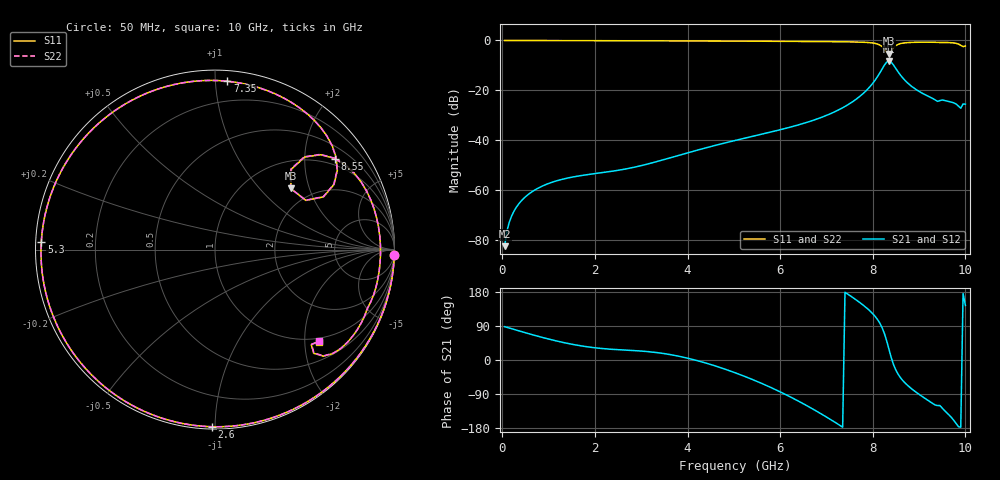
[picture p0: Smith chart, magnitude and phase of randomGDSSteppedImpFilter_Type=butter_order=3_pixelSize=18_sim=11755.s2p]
! freq	dB(S11)	phase(S11)	dB(S12)	phase(S12)
!  dB(S21)	phase(S21)	dB(S22)	phase(S22)
!S-par simulation data
#  GHz  S  DB  R 50
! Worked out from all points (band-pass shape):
!   200 points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, 50 MHz to 10 GHz, reference 50 ohm
!   highest |S21| = -8.21 dB at 8.35 GHz (marker M1); lowest = -82.3 dB at 50 MHz (marker M2)
!   |S21| within 3 dB of the highest: 8.209 GHz to 8.497 GHz (288.2 MHz wide, 3.45 % of centre)
!   lowest |S11| = -5.3 dB at 8.35 GHz (marker M3), VSWR 3.37, Z = 78.5 + j75.7 ohm
!   |S11| at or under -10 dB: nowhere
!   |S22| runs from -5.3 to 0.0 dB; largest |S21 - S12| = 0
!   S11 on the Smith chart (normalised r, x): 50 MHz: 1, -62; 2.6 GHz: 0.01, -0.98; 5.3 GHz: 0.02, +0.02; 7.35 GHz: 0.07, +1.07; 8.55 GHz: 0.81, +2.75; 10 GHz: 0.91, -2.33
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0.05  -0.00 -1.9  -82.31 88.0  -82.31 88.0  -0.00 -1.9
0.25  -0.01 -9.1  -68.38 80.8  -68.38 80.8  -0.01 -9.1
0.55  -0.02 -20.0  -61.77 70.1  -61.77 70.1  -0.02 -20.0
1.75  -0.08 -62.3  -53.93 36.3  -53.93 36.3  -0.08 -62.3
2.6  -0.11 -91.1  -51.64 26.5  -51.64 26.5  -0.11 -91.1
3.4  -0.15 -117.5  -48.14 18.6  -48.14 18.6  -0.15 -117.4
4.3  -0.20 -147.3  -43.44 -4.7  -43.44 -4.7  -0.20 -147.2
5.05  -0.26 -173.3  -39.92 -34.7  -39.92 -34.7  -0.26 -173.2
5.3  -0.28 177.6  -38.81 -46.4  -38.81 -46.4  -0.28 177.6
6  -0.34 150.1  -35.72 -84.1  -35.72 -84.1  -0.34 150.2
6.7  -0.42 119.0  -32.04 -129.0  -32.04 -129.0  -0.42 119.1
7.35  -0.53 85.8  -26.93 -177.2  -26.93 -177.2  -0.53 85.9
7.75  -0.69 62.4  -21.92 148.9  -21.92 148.9  -0.69 62.6
8.1  -1.43 37.3  -14.55 107.3  -14.55 107.3  -1.43 37.4
8.25  -3.45 25.9  -9.91 70.4  -9.91 70.4  -3.46 26.0
8.35  -5.31 38.9  -8.21 27.9  -8.21 27.9  -5.33 39.1
8.45  -2.88 45.9  -9.90 -12.7  -9.90 -12.7  -2.88 46.1
8.55  -1.54 37.3  -12.66 -38.0  -12.66 -38.0  -1.54 37.5
8.8  -0.81 17.5  -17.78 -72.1  -17.78 -72.1  -0.81 17.7
9.15  -0.70 -4.4  -21.90 -103.2  -21.90 -103.2  -0.70 -4.2
9.8  -1.15 -41.4  -25.42 -167.7  -25.42 -167.7  -1.16 -41.3
10  -2.24 -41.6  -25.48 144.1  -25.48 144.1  -2.23 -41.4
